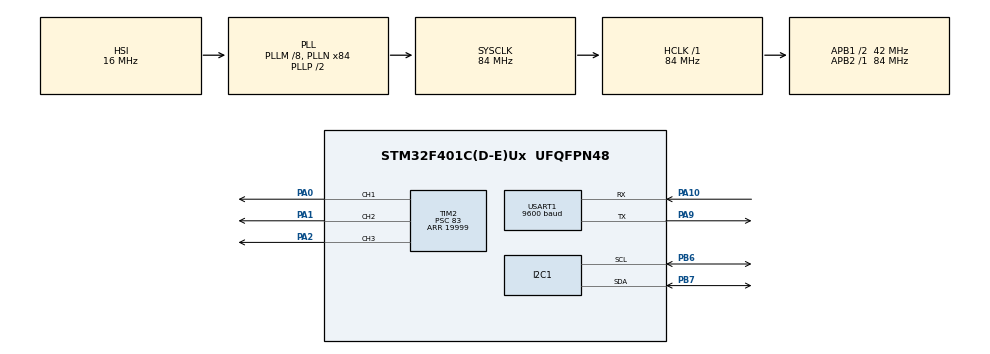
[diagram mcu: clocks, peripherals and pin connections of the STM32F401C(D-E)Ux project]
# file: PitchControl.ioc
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Mcu.Family=STM32F4
Mcu.Name=STM32F401C(D-E)Ux
Mcu.Package=UFQFPN48
NVIC.PriorityGroup=NVIC_PRIORITYGROUP_4
NVIC.USART1_IRQn=true\:0\:0\:false\:false\:true\:true\:true\:true
PA0-WKUP.Signal=S_TIM2_CH1_ETR
PA1.Signal=S_TIM2_CH2
PA10.Mode=Asynchronous
PA10.Signal=USART1_RX
PA2.Signal=S_TIM2_CH3
PA9.Mode=Asynchronous
PA9.Signal=USART1_TX
PB6.Mode=I2C
PB6.Signal=I2C1_SCL
PB7.Mode=I2C
PB7.Signal=I2C1_SDA
PH0\ -\ OSC_IN.Mode=HSE-External-Oscillator
PH0\ -\ OSC_IN.Signal=RCC_OSC_IN
PH1\ -\ OSC_OUT.Mode=HSE-External-Oscillator
PH1\ -\ OSC_OUT.Signal=RCC_OSC_OUT
ProjectManager.HeapSize=0x200
ProjectManager.StackSize=0x400
ProjectManager.TargetToolchain=STM32CubeIDE
RCC.48MHZClocksFreq_Value=42000000
RCC.AHBFreq_Value=84000000
RCC.APB1CLKDivider=RCC_HCLK_DIV2
RCC.APB1Freq_Value=42000000
RCC.APB1TimFreq_Value=84000000
RCC.APB2Freq_Value=84000000
RCC.APB2TimFreq_Value=84000000
RCC.CortexFreq_Value=84000000
RCC.HCLKFreq_Value=84000000
RCC.HSE_VALUE=25000000
RCC.HSI_VALUE=16000000
RCC.LSE_VALUE=32768
RCC.PLLM=8
RCC.PLLN=84
RCC.SYSCLKFreq_VALUE=84000000
RCC.SYSCLKSource=RCC_SYSCLKSOURCE_PLLCLK
RCC.VCOOutputFreq_Value=168000000
SH.S_TIM2_CH1_ETR.0=TIM2_CH1,PWM Generation1 CH1
SH.S_TIM2_CH2.0=TIM2_CH2,PWM Generation2 CH2
SH.S_TIM2_CH3.0=TIM2_CH3,PWM Generation3 CH3
TIM2.Channel-PWM\ Generation1\ CH1=TIM_CHANNEL_1
TIM2.Channel-PWM\ Generation2\ CH2=TIM_CHANNEL_2
TIM2.Channel-PWM\ Generation3\ CH3=TIM_CHANNEL_3
TIM2.Period=19999
TIM2.Prescaler=83
TIM2.Pulse-PWM\ Generation1\ CH1=1500
TIM2.Pulse-PWM\ Generation2\ CH2=1500
TIM2.Pulse-PWM\ Generation3\ CH3=1000
USART1.BaudRate=9600
USART1.VirtualMode=VM_ASYNC
VP_TIM2_VS_ClockSourceINT.Mode=Internal
board=custom

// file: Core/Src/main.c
/* USER CODE BEGIN Header */
/**
  ******************************************************************************
  * @file           : main.c
  * @brief          : Main program body
  ******************************************************************************
  * @attention
  *
  * Copyright (c) 2026 STMicroelectronics.
  * All rights reserved.
  *
  * This software is licensed under terms that can be found in the LICENSE file
  * in the root directory of this software component.
  * If no LICENSE file comes with this software, it is provided AS-IS.
  *
  ******************************************************************************
  */
/* USER CODE END Header */
#include "main.h"

/* USER CODE BEGIN Includes */
#include <stdio.h>
#include <math.h>
#include <string.h>
/* USER CODE END Includes */

I2C_HandleTypeDef hi2c1;

TIM_HandleTypeDef htim2;

UART_HandleTypeDef huart1;

/* USER CODE BEGIN PV */
#define MPU6050_ADDR 0xD0 // 0x68 shifted left by 1 bit for STM32 HAL

// MPU6050 Raw & Processed Measurements
int16_t Accel_X_RAW = 0, Accel_Y_RAW = 0, Accel_Z_RAW = 0;
int16_t Gyro_X_RAW = 0, Gyro_Y_RAW = 0, Gyro_Z_RAW = 0;
float Ax, Ay, Az;
float Gx, Gy, Gz;

// Pitch & Roll Angle & Calibration Variables
float pitch = 0.0f, pitch_offset = 0.0f;
float roll  = 0.0f, roll_offset  = 0.0f;
uint32_t last_time = 0;

// Continuous Background Motor Speed (0% to 100%)
#define BACKGROUND_THROTTLE 30

// Pitch PID Parameters & State
float Kp_pitch = 1.2f, Ki_pitch = 0.05f, Kd_pitch = 0.15f;
float pitch_setpoint = 0.0f;
float pid_integral_pitch = 0.0f;
float last_pid_error_pitch = 0.0f;

// Roll PID Parameters & State
float Kp_roll = 1.2f, Ki_roll = 0.05f, Kd_roll = 0.15f;
float roll_setpoint = 0.0f;
float pid_integral_roll = 0.0f;
float last_pid_error_roll = 0.0f;

float integral_limit = 25.0f; // Anti-windup limit

// Bluetooth RX Variables
uint8_t rx_byte;
char rx_buffer[20];
uint8_t rx_index = 0;

// Flag to trigger soft reset safely outside ISR
volatile uint8_t reset_requested = 0;

/* USER CODE END PV */

void SystemClock_Config(void);
static void MX_GPIO_Init(void);
static void MX_I2C1_Init(void);
static void MX_TIM2_Init(void);
static void MX_USART1_UART_Init(void);
/* USER CODE BEGIN PFP */
void MPU6050_Init(void);
void MPU6050_Read_All(void);
void MPU6050_Calibrate_Angles(void);
void Servo1_SetAngle(uint8_t angle);
void Servo2_SetAngle(uint8_t angle);
void BLDC_SetThrottle(uint8_t percent);
float Compute_PID_Pitch(float setpoint, float current_pitch, float dt);
float Compute_PID_Roll(float setpoint, float current_roll, float dt);
void Process_Command(char* cmd);
/* USER CODE END PFP */

int main(void)
{

  /* MCU Configuration--------------------------------------------------------*/

  /* Reset of all peripherals, Initializes the Flash interface and the Systick. */
  HAL_Init();

  /* Configure the system clock */
  SystemClock_Config();

  /* Initialize all configured peripherals */
  MX_GPIO_Init();
  MX_I2C1_Init();
  MX_TIM2_Init();
  MX_USART1_UART_Init();
  /* USER CODE BEGIN 2 */
  // 1. Start PWM outputs for both Servos and the BLDC ESC
    HAL_TIM_PWM_Start(&htim2, TIM_CHANNEL_1); // Servo 1 (PA0)
    HAL_TIM_PWM_Start(&htim2, TIM_CHANNEL_2); // Servo 2 (PA1)
    HAL_TIM_PWM_Start(&htim2, TIM_CHANNEL_3); // BLDC ESC (PA2)

    // 2. Set servos to neutral center (90 deg) & send 0% throttle to arm the ESC
    Servo1_SetAngle(90);
    Servo2_SetAngle(90);
    BLDC_SetThrottle(0);

    // Wait 2 seconds for ESC arming signal sequence
    HAL_Delay(2000);

    // 3. Initialize MPU6050 Sensor
    MPU6050_Init();

    // 4. Calibrate baseline resting pitch AND roll offsets
    MPU6050_Calibrate_Angles();

    // 5. Spin BLDC motor up to continuous background throttle
    BLDC_SetThrottle(BACKGROUND_THROTTLE);

    // 6. Start Bluetooth UART RX Interrupt
    HAL_UART_Receive_IT(&huart1, &rx_byte, 1);

    last_time = HAL_GetTick();
  /* USER CODE END 2 */

  /* Infinite loop */
  while (1)
  {

    /* USER CODE BEGIN 3 */
	  // 1. Check for Bluetooth Soft Reset Flag
	    if (reset_requested)
	    {
	        char msg[] = ">> System Resetting...\r\n";
	        HAL_UART_Transmit(&huart1, (uint8_t*)msg, strlen(msg), 100);
	        HAL_Delay(50); // Safe to use HAL_Delay inside main thread context
	        NVIC_SystemReset();
	    }

	    uint32_t current_time = HAL_GetTick();
	    float dt = (current_time - last_time) / 1000.0f; // dt in seconds

	    // Execute Control loop at 50 Hz (20 ms interval)
	    if (dt >= 0.02f)
	    {
	        last_time = current_time;

	        // 1. Read IMU raw acceleration and angular rates
	        MPU6050_Read_All();

	        // 2. Compute Pitch & Roll angles from accelerometer
	        float pitch_acc = atan2f(-Ax, sqrtf(Ay * Ay + Az * Az)) * 57.29578f;
	        float roll_acc  = atan2f(Ay, Az) * 57.29578f;

	        // 3. Complementary Filters
	        pitch = 0.98f * (pitch + Gx * dt) + 0.02f * (pitch_acc - pitch_offset);
	        roll  = 0.98f * (roll  + Gy * dt) + 0.02f * (roll_acc  - roll_offset);

	        // 4. Compute PID Corrections
	        float pid_pitch = Compute_PID_Pitch(pitch_setpoint, pitch, dt);
	        float pid_roll  = Compute_PID_Roll(roll_setpoint, roll, dt);

	        // 5. Elevon Control Surface Mixing Logic
	        float s1_target = 90.0f + pid_pitch + pid_roll;
	        float s2_uninverted = 90.0f + pid_pitch - pid_roll;
	        float s2_target = 180.0f - s2_uninverted;

	        // 6. Safety Clamping (10 to 170 deg)
	        if (s1_target > 170.0f) s1_target = 170.0f;
	        if (s1_target < 10.0f)  s1_target = 10.0f;

	        if (s2_target > 170.0f) s2_target = 170.0f;
	        if (s2_target < 10.0f)  s2_target = 10.0f;

	        // 7. Actuate Servos
	        Servo1_SetAngle((uint8_t)s1_target);
	        Servo2_SetAngle((uint8_t)s2_target);

	        // 8. RX Watchdog
	        if (huart1.RxState == HAL_UART_STATE_READY)
	        {
	            HAL_UART_Receive_IT(&huart1, &rx_byte, 1);
	        }
	    }
  }
  /* USER CODE END 3 */
}

void SystemClock_Config(void)
{
  RCC_OscInitTypeDef RCC_OscInitStruct = {0};
  RCC_ClkInitTypeDef RCC_ClkInitStruct = {0};

  /** Configure the main internal regulator output voltage
  */
  __HAL_RCC_PWR_CLK_ENABLE();
  __HAL_PWR_VOLTAGESCALING_CONFIG(PWR_REGULATOR_VOLTAGE_SCALE2);

  /** Initializes the RCC Oscillators according to the specified parameters
  * in the RCC_OscInitTypeDef structure.
  */
  RCC_OscInitStruct.OscillatorType = RCC_OSCILLATORTYPE_HSI;
  RCC_OscInitStruct.HSIState = RCC_HSI_ON;
  RCC_OscInitStruct.HSICalibrationValue = RCC_HSICALIBRATION_DEFAULT;
  RCC_OscInitStruct.PLL.PLLState = RCC_PLL_ON;
  RCC_OscInitStruct.PLL.PLLSource = RCC_PLLSOURCE_HSI;
  RCC_OscInitStruct.PLL.PLLM = 8;
  RCC_OscInitStruct.PLL.PLLN = 84;
  RCC_OscInitStruct.PLL.PLLP = RCC_PLLP_DIV2;
  RCC_OscInitStruct.PLL.PLLQ = 4;
  if (HAL_RCC_OscConfig(&RCC_OscInitStruct) != HAL_OK)
  {
    Error_Handler();
  }

  /** Initializes the CPU, AHB and APB buses clocks
  */
  RCC_ClkInitStruct.ClockType = RCC_CLOCKTYPE_HCLK|RCC_CLOCKTYPE_SYSCLK
                              |RCC_CLOCKTYPE_PCLK1|RCC_CLOCKTYPE_PCLK2;
  RCC_ClkInitStruct.SYSCLKSource = RCC_SYSCLKSOURCE_PLLCLK;
  RCC_ClkInitStruct.AHBCLKDivider = RCC_SYSCLK_DIV1;
  RCC_ClkInitStruct.APB1CLKDivider = RCC_HCLK_DIV2;
  RCC_ClkInitStruct.APB2CLKDivider = RCC_HCLK_DIV1;

  if (HAL_RCC_ClockConfig(&RCC_ClkInitStruct, FLASH_LATENCY_2) != HAL_OK)
  {
    Error_Handler();
  }
}

static void MX_I2C1_Init(void)
{

  hi2c1.Instance = I2C1;
  hi2c1.Init.ClockSpeed = 100000;
  hi2c1.Init.DutyCycle = I2C_DUTYCYCLE_2;
  hi2c1.Init.OwnAddress1 = 0;
  hi2c1.Init.AddressingMode = I2C_ADDRESSINGMODE_7BIT;
  hi2c1.Init.DualAddressMode = I2C_DUALADDRESS_DISABLE;
  hi2c1.Init.OwnAddress2 = 0;
  hi2c1.Init.GeneralCallMode = I2C_GENERALCALL_DISABLE;
  hi2c1.Init.NoStretchMode = I2C_NOSTRETCH_DISABLE;
  if (HAL_I2C_Init(&hi2c1) != HAL_OK)
  {
    Error_Handler();
  }

}

static void MX_TIM2_Init(void)
{

  TIM_ClockConfigTypeDef sClockSourceConfig = {0};
  TIM_MasterConfigTypeDef sMasterConfig = {0};
  TIM_OC_InitTypeDef sConfigOC = {0};

  htim2.Instance = TIM2;
  htim2.Init.Prescaler = 83;
  htim2.Init.CounterMode = TIM_COUNTERMODE_UP;
  htim2.Init.Period = 19999;
  htim2.Init.ClockDivision = TIM_CLOCKDIVISION_DIV1;
  htim2.Init.AutoReloadPreload = TIM_AUTORELOAD_PRELOAD_DISABLE;
  if (HAL_TIM_Base_Init(&htim2) != HAL_OK)
  {
    Error_Handler();
  }
  sClockSourceConfig.ClockSource = TIM_CLOCKSOURCE_INTERNAL;
  if (HAL_TIM_ConfigClockSource(&htim2, &sClockSourceConfig) != HAL_OK)
  {
    Error_Handler();
  }
  if (HAL_TIM_PWM_Init(&htim2) != HAL_OK)
  {
    Error_Handler();
  }
  sMasterConfig.MasterOutputTrigger = TIM_TRGO_RESET;
  sMasterConfig.MasterSlaveMode = TIM_MASTERSLAVEMODE_DISABLE;
  if (HAL_TIMEx_MasterConfigSynchronization(&htim2, &sMasterConfig) != HAL_OK)
  {
    Error_Handler();
  }
  sConfigOC.OCMode = TIM_OCMODE_PWM1;
  sConfigOC.Pulse = 1500;
  sConfigOC.OCPolarity = TIM_OCPOLARITY_HIGH;
  sConfigOC.OCFastMode = TIM_OCFAST_DISABLE;
  if (HAL_TIM_PWM_ConfigChannel(&htim2, &sConfigOC, TIM_CHANNEL_1) != HAL_OK)
  {
    Error_Handler();
  }
  if (HAL_TIM_PWM_ConfigChannel(&htim2, &sConfigOC, TIM_CHANNEL_2) != HAL_OK)
  {
    Error_Handler();
  }
  sConfigOC.Pulse = 1000;
  if (HAL_TIM_PWM_ConfigChannel(&htim2, &sConfigOC, TIM_CHANNEL_3) != HAL_OK)
  {
    Error_Handler();
  }
  HAL_TIM_MspPostInit(&htim2);

}

static void MX_USART1_UART_Init(void)
{

  huart1.Instance = USART1;
  huart1.Init.BaudRate = 9600;
  huart1.Init.WordLength = UART_WORDLENGTH_8B;
  huart1.Init.StopBits = UART_STOPBITS_1;
  huart1.Init.Parity = UART_PARITY_NONE;
  huart1.Init.Mode = UART_MODE_TX_RX;
  huart1.Init.HwFlowCtl = UART_HWCONTROL_NONE;
  huart1.Init.OverSampling = UART_OVERSAMPLING_16;
  if (HAL_UART_Init(&huart1) != HAL_OK)
  {
    Error_Handler();
  }

}

static void MX_GPIO_Init(void)
{

  /* GPIO Ports Clock Enable */
  __HAL_RCC_GPIOH_CLK_ENABLE();
  __HAL_RCC_GPIOA_CLK_ENABLE();
  __HAL_RCC_GPIOB_CLK_ENABLE();

}

/* USER CODE BEGIN 4 */
/**
  * @brief Sets Servo 1 position angle (0 to 180 deg).
  */
void Servo1_SetAngle(uint8_t angle)
{
    if (angle > 180) angle = 180;
    uint16_t pulse = 500 + ((uint32_t)angle * 2000) / 180; // 500us to 2500us
    __HAL_TIM_SET_COMPARE(&htim2, TIM_CHANNEL_1, pulse);
}

/**
  * @brief Sets Servo 2 position angle (0 to 180 deg).
  */
void Servo2_SetAngle(uint8_t angle)
{
    if (angle > 180) angle = 180;
    uint16_t pulse = 500 + ((uint32_t)angle * 2000) / 180; // 500us to 2500us
    __HAL_TIM_SET_COMPARE(&htim2, TIM_CHANNEL_2, pulse);
}

/**
  * @brief Sets BLDC ESC Throttle (0 to 100 %).
  */
void BLDC_SetThrottle(uint8_t percent)
{
    if (percent > 100) percent = 100;
    uint16_t pulse = 1000 + ((uint32_t)percent * 1000) / 100; // 1000us to 2000us
    __HAL_TIM_SET_COMPARE(&htim2, TIM_CHANNEL_3, pulse);
}

/**
  * @brief Initializes MPU6050 power registers and DLPF settings.
  */
void MPU6050_Init(void)
{
    uint8_t check, data;
    HAL_I2C_Mem_Read(&hi2c1, MPU6050_ADDR, 0x75, 1, &check, 1, 1000);
    if (check == 0x68)
    {
        data = 0x00; // Wake up MPU6050
        HAL_I2C_Mem_Write(&hi2c1, MPU6050_ADDR, 0x6B, 1, &data, 1, 1000);
        data = 0x03; // DLPF ~42Hz bandwidth filter
        HAL_I2C_Mem_Write(&hi2c1, MPU6050_ADDR, 0x1A, 1, &data, 1, 1000);
        data = 0x00; // Accel range +/- 2g
        HAL_I2C_Mem_Write(&hi2c1, MPU6050_ADDR, 0x1C, 1, &data, 1, 1000);
        data = 0x00; // Gyro range +/- 250 deg/s
        HAL_I2C_Mem_Write(&hi2c1, MPU6050_ADDR, 0x1B, 1, &data, 1, 1000);
    }
}

/**
  * @brief Reads 14 sequential bytes from MPU6050 and converts raw readings.
  */
void MPU6050_Read_All(void)
{
    uint8_t raw[14];
    if (HAL_I2C_Mem_Read(&hi2c1, MPU6050_ADDR, 0x3B, 1, raw, 14, 1000) == HAL_OK)
    {
        Accel_X_RAW = (int16_t)(raw[0] << 8 | raw[1]);
        Accel_Y_RAW = (int16_t)(raw[2] << 8 | raw[3]);
        Accel_Z_RAW = (int16_t)(raw[4] << 8 | raw[5]);
        Gyro_X_RAW  = (int16_t)(raw[8] << 8 | raw[9]);
        Gyro_Y_RAW  = (int16_t)(raw[10] << 8 | raw[11]);
        Gyro_Z_RAW  = (int16_t)(raw[12] << 8 | raw[13]);

        Ax = Accel_X_RAW / 16384.0f;
        Ay = Accel_Y_RAW / 16384.0f;
        Az = Accel_Z_RAW / 16384.0f;
        Gx = Gyro_X_RAW / 131.0f;
        Gy = Gyro_Y_RAW / 131.0f;
        Gz = Gyro_Z_RAW / 131.0f;
    }
}

// Keep your existing Servo1_SetAngle, Servo2_SetAngle, BLDC_SetThrottle,
// MPU6050_Init, and MPU6050_Read_All functions as they are.

/**
  * @brief Collects static samples at boot to establish Pitch AND Roll resting offsets.
  */
void MPU6050_Calibrate_Angles(void)
{
    float pitch_sum = 0.0f;
    float roll_sum  = 0.0f;

    for (int i = 0; i < 200; i++)
    {
        MPU6050_Read_All();
        float p = atan2f(-Ax, sqrtf(Ay * Ay + Az * Az)) * 57.29578f;
        float r = atan2f(Ay, Az) * 57.29578f;

        pitch_sum += p;
        roll_sum  += r;
        HAL_Delay(5);
    }
    pitch_offset = pitch_sum / 200.0f;
    roll_offset  = roll_sum  / 200.0f;
}

/**
  * @brief Computes PID correction output for submarine pitch stabilization.
  */
float Compute_PID_Pitch(float setpoint, float current_pitch, float dt)
{
    float error = setpoint - current_pitch;
    float p_term = Kp_pitch * error;

    pid_integral_pitch += error * dt;
    if (pid_integral_pitch > integral_limit)  pid_integral_pitch = integral_limit;
    if (pid_integral_pitch < -integral_limit) pid_integral_pitch = -integral_limit;
    float i_term = Ki_pitch * pid_integral_pitch;

    float derivative = (dt > 0.0f) ? ((error - last_pid_error_pitch) / dt) : 0.0f;
    last_pid_error_pitch = error;
    float d_term = Kd_pitch * derivative;

    return (p_term + i_term + d_term);
}

/**
  * @brief Computes PID correction output for submarine roll stabilization.
  */
float Compute_PID_Roll(float setpoint, float current_roll, float dt)
{
    float error = setpoint - current_roll;
    float p_term = Kp_roll * error;

    pid_integral_roll += error * dt;
    if (pid_integral_roll > integral_limit)  pid_integral_roll = integral_limit;
    if (pid_integral_roll < -integral_limit) pid_integral_roll = -integral_limit;
    float i_term = Ki_roll * pid_integral_roll;

    float derivative = (dt > 0.0f) ? ((error - last_pid_error_roll) / dt) : 0.0f;
    last_pid_error_roll = error;
    float d_term = Kd_roll * derivative;

    return (p_term + i_term + d_term);
}

/**
  * @brief Parses incoming text string for soft reset command.
  */
void Process_Command(char* cmd)
{
    // Strip trailing carriage returns or line feeds
    char *p = cmd;
    while (*p) {
        if (*p == '\r' || *p == '\n') {
            *p = '\0';
            break;
        }
        p++;
    }

    // Check for 'r' or 'R' command
    if (strcmp(cmd, "r") == 0 || strcmp(cmd, "R") == 0)
    {
        char msg[] = ">> System Resetting...\r\n";
        HAL_UART_Transmit(&huart1, (uint8_t*)msg, strlen(msg), 100);
        HAL_Delay(50);       // Wait for UART buffer to flush
        NVIC_SystemReset();  // Trigger Cortex-M Software Reset
    }
}
/**
  * @brief Non-blocking UART receive callback. Sets reset flag immediately on 'r' or 'R'.
  */
void HAL_UART_RxCpltCallback(UART_HandleTypeDef *huart)
{
    if (huart->Instance == USART1)
    {
        // Immediate single-character soft reset check
        if (rx_byte == 'r' || rx_byte == 'R')
        {
            reset_requested = 1; // Flag reset to be executed in main loop
        }
        else if (rx_byte == '\r' || rx_byte == '\n')
        {
            if (rx_index > 0)
            {
                rx_buffer[rx_index] = '\0';

                // String command check for 'r' or 'R'
                if (strcmp(rx_buffer, "r") == 0 || strcmp(rx_buffer, "R") == 0)
                {
                    reset_requested = 1;
                }
                rx_index = 0;
            }
        }
        else
        {
            if (rx_index < sizeof(rx_buffer) - 1)
            {
                rx_buffer[rx_index++] = rx_byte;
            }
            else
            {
                rx_index = 0;
            }
        }

        // Re-enable interrupt for next byte
        HAL_UART_Receive_IT(&huart1, &rx_byte, 1);
    }
}

/**
  * @brief Handles UART overrun recovery automatically.
  */
void HAL_UART_ErrorCallback(UART_HandleTypeDef *huart)
{
    if (huart->Instance == USART1)
    {
        __HAL_UART_CLEAR_OREFLAG(huart);
        __HAL_UART_CLEAR_NEFLAG(huart);
        __HAL_UART_CLEAR_FEFLAG(huart);
        HAL_UART_Receive_IT(&huart1, &rx_byte, 1);
    }
}
/* USER CODE END 4 */

void Error_Handler(void)
{
  __disable_irq();
  while (1)
  {
  }
}
